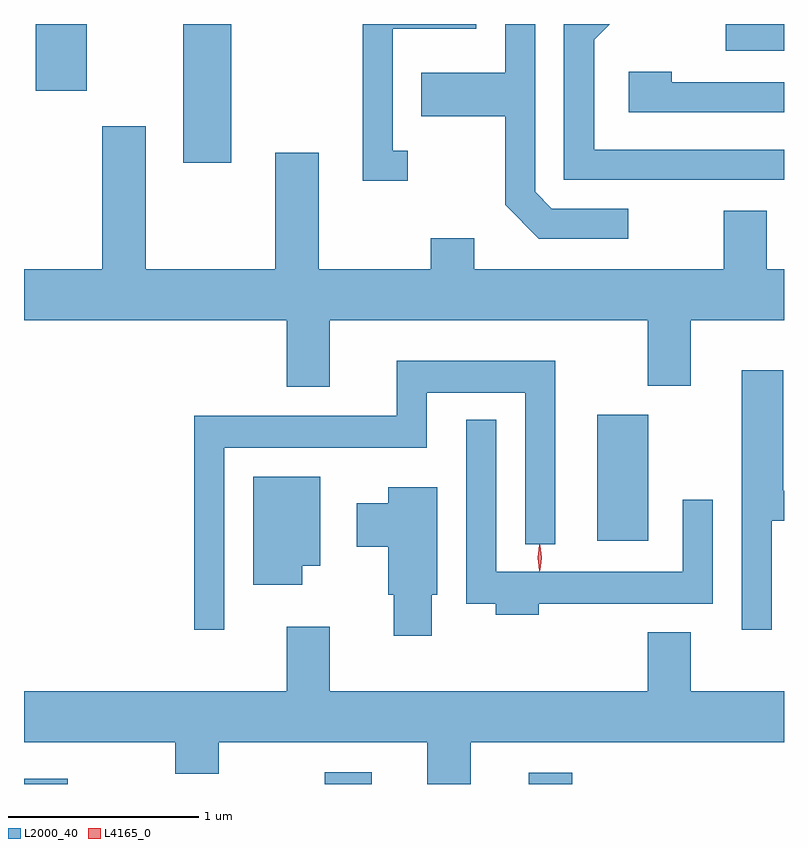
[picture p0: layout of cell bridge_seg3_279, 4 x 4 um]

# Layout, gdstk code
import gdstk
lib = gdstk.Library(unit=1e-6, precision=1e-09)
def R(c, l, rs):  # rectangles x0, y0, x1, y1
    for r in rs: c.add(gdstk.rectangle(r[:2], r[2:], *l))
def P(c, l, *ps):  # polygons
    for p in ps: c.add(gdstk.Polygon(p, *l))
L2000_40 = (2000, 40)
L4165_0 = (4165, 0)

bridge_seg3_279 = lib.new_cell('bridge_seg3_279')
R(bridge_seg3_279, L2000_40, [(1016.989,1134.676,1017.218,1134.704), (1018.571,1134.676,1018.819,1134.739), (1019.646,1134.676,1019.874,1134.734), (1020.006,1135.956,1020.274,1136.619), (1017.826,1137.946,1018.079,1138.676), (1017.051,1138.326,1017.319,1138.676), (1020.683,1138.536,1020.989,1138.676)])
P(bridge_seg3_279, L2000_40, [(1020.168,1137.704),(1019.767,1137.704),(1019.679,1137.792),(1019.679,1138.676),(1019.521,1138.676),(1019.521,1138.419),(1019.081,1138.419),(1019.081,1138.191),(1019.521,1138.191),(1019.521,1137.724),(1019.699,1137.546),(1020.168,1137.546)],
  [(1019.008,1138.009),(1018.929,1138.009),(1018.929,1138.651),(1019.369,1138.651),(1019.369,1138.676),(1018.771,1138.676),(1018.771,1137.851),(1019.008,1137.851)],
  [(1020.989,1138.014),(1019.989,1138.014),(1019.989,1138.594),(1020.072,1138.676),(1019.831,1138.676),(1019.831,1137.856),(1020.989,1137.856)],
  [(1020.989,1138.369),(1020.399,1138.369),(1020.399,1138.424),(1020.171,1138.424),(1020.171,1138.211),(1020.989,1138.211)],
  [(1018.599,1137.116),(1020.271,1137.116),(1020.271,1136.771),(1020.499,1136.771),(1020.499,1137.116),(1020.989,1137.116),(1020.989,1137.384),(1020.899,1137.384),(1020.899,1137.694),(1020.671,1137.694),(1020.671,1137.384),(1019.359,1137.384),(1019.359,1137.549),(1019.131,1137.549),(1019.131,1137.384),(1018.539,1137.384),(1018.539,1137.999),(1018.311,1137.999),(1018.311,1137.384),(1017.629,1137.384),(1017.629,1138.139),(1017.401,1138.139),(1017.401,1137.384),(1016.989,1137.384),(1016.989,1137.116),(1018.371,1137.116),(1018.371,1136.766),(1018.599,1136.766)],
  [(1018.044,1136.446),(1019.109,1136.446),(1019.109,1136.736),(1019.626,1136.736),(1019.626,1135.938),(1019.784,1135.938),(1019.784,1136.904),(1018.951,1136.904),(1018.951,1136.614),(1017.886,1136.614),(1017.886,1135.488),(1018.044,1135.488)],
  [(1020.924,1136.061),(1020.989,1136.061),(1020.989,1136.219),(1020.984,1136.219),(1020.984,1136.854),(1020.766,1136.854),(1020.766,1135.488),(1020.924,1135.488)],
  [(1019.699,1135.626),(1020.614,1135.626),(1020.614,1136.173),(1020.456,1136.173),(1020.456,1135.794),(1019.474,1135.794),(1019.474,1136.593),(1019.316,1136.593),(1019.316,1135.626),(1019.471,1135.626),(1019.471,1135.566),(1019.699,1135.566)],
  [(1018.454,1135.826),(1018.549,1135.826),(1018.549,1136.294),(1018.196,1136.294),(1018.196,1135.726),(1018.454,1135.726)],
  [(1019.134,1135.671),(1019.164,1135.671),(1019.164,1136.239),(1018.906,1136.239),(1018.906,1136.154),(1018.741,1136.154),(1018.741,1135.926),(1018.906,1135.926),(1018.906,1135.671),(1018.936,1135.671),(1018.936,1135.456),(1019.134,1135.456)],
  [(1019.339,1134.896),(1020.989,1134.896),(1020.989,1135.164),(1020.499,1135.164),(1020.499,1135.474),(1020.271,1135.474),(1020.271,1135.164),(1018.599,1135.164),(1018.599,1135.504),(1018.371,1135.504),(1018.371,1135.164),(1016.989,1135.164),(1016.989,1134.896),(1017.786,1134.896),(1017.786,1134.731),(1018.014,1134.731),(1018.014,1134.896),(1019.111,1134.896),(1019.111,1134.676),(1019.339,1134.676)])
P(bridge_seg3_279, L4165_0, [(1019.702,1135.797),(1019.702,1135.798),(1019.692,1135.867),(1019.702,1135.936),(1019.702,1135.936),(1019.703,1135.936),(1019.712,1135.867),(1019.703,1135.798)],
  [(1019.705,1135.8),(1019.705,1135.8),(1019.695,1135.866),(1019.705,1135.932),(1019.705,1135.933),(1019.706,1135.932),(1019.715,1135.866),(1019.706,1135.8)])

lib.write_gds('bridge_seg3_279.gds')
